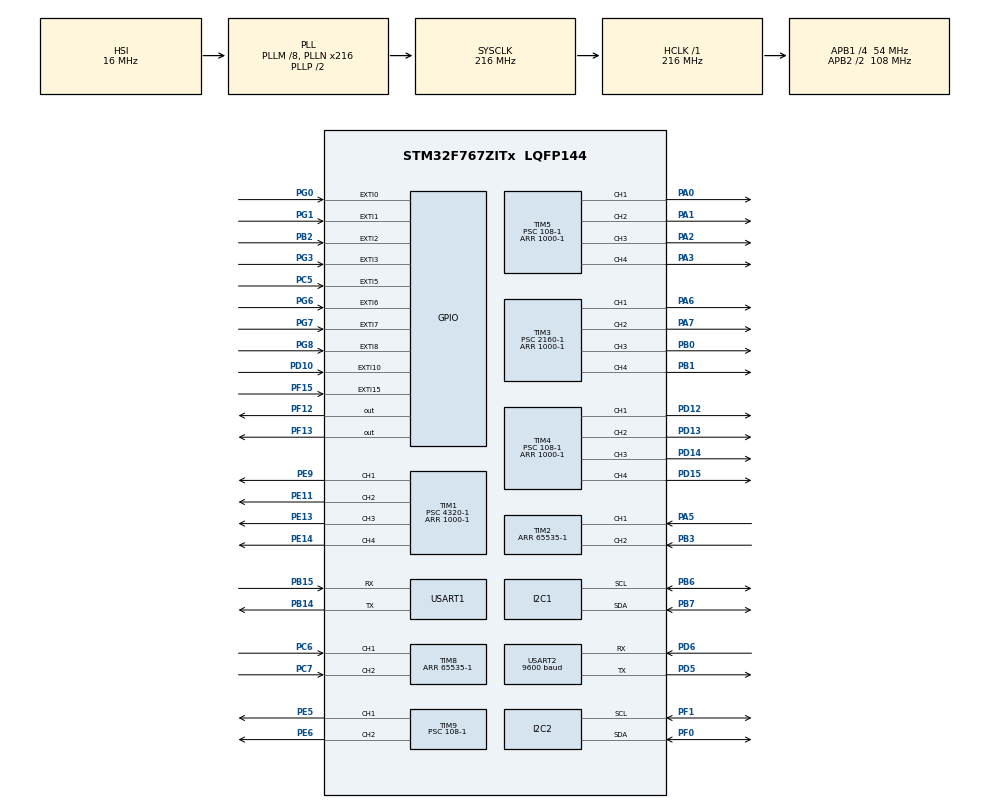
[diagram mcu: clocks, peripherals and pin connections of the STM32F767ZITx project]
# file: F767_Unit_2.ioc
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Dma.Request0=USART2_RX
Dma.USART2_RX.0.Direction=DMA_PERIPH_TO_MEMORY
Dma.USART2_RX.0.FIFOMode=DMA_FIFOMODE_DISABLE
Dma.USART2_RX.0.Instance=DMA1_Stream5
Dma.USART2_RX.0.MemDataAlignment=DMA_MDATAALIGN_BYTE
Dma.USART2_RX.0.MemInc=DMA_MINC_ENABLE
Dma.USART2_RX.0.Mode=DMA_CIRCULAR
Dma.USART2_RX.0.PeriphDataAlignment=DMA_PDATAALIGN_BYTE
Dma.USART2_RX.0.PeriphInc=DMA_PINC_DISABLE
Dma.USART2_RX.0.Priority=DMA_PRIORITY_VERY_HIGH
I2C1.Timing=0x20404768
I2C2.Timing=0x20404768
Mcu.Family=STM32F7
Mcu.Name=STM32F767ZITx
Mcu.Package=LQFP144
NVIC.DMA1_Stream5_IRQn=true\:0\:0\:false\:false\:true\:false\:true
NVIC.EXTI0_IRQn=true\:0\:0\:false\:false\:true\:true\:true
NVIC.EXTI15_10_IRQn=true\:0\:0\:false\:false\:true\:true\:true
NVIC.EXTI1_IRQn=true\:0\:0\:false\:false\:true\:true\:true
NVIC.EXTI2_IRQn=true\:0\:0\:false\:false\:true\:true\:true
NVIC.EXTI3_IRQn=true\:0\:0\:false\:false\:true\:true\:true
NVIC.EXTI9_5_IRQn=true\:0\:0\:false\:false\:true\:true\:true
NVIC.PriorityGroup=NVIC_PRIORITYGROUP_4
NVIC.TIM6_DAC_IRQn=true\:0\:0\:false\:false\:true\:true\:true
NVIC.USART2_IRQn=true\:0\:0\:false\:false\:true\:true\:true
PA0/WKUP.Signal=S_TIM5_CH1
PA1.Signal=S_TIM5_CH2
PA2.Signal=S_TIM5_CH3
PA3.Signal=S_TIM5_CH4
PA5.Signal=S_TIM2_CH1_ETR
PA6.Signal=S_TIM3_CH1
PA7.Signal=S_TIM3_CH2
PB0.Signal=S_TIM3_CH3
PB1.Signal=S_TIM3_CH4
PB14.Mode=Asynchronous
PB14.Signal=USART1_TX
PB15.Mode=Asynchronous
PB15.Signal=USART1_RX
PB2.GPIO_ModeDefaultEXTI=GPIO_MODE_IT_RISING_FALLING
PB2.Signal=GPXTI2
PB3.Signal=S_TIM2_CH2
PB6.Mode=I2C
PB6.Signal=I2C1_SCL
PB7.Mode=I2C
PB7.Signal=I2C1_SDA
PC5.GPIO_ModeDefaultEXTI=GPIO_MODE_IT_RISING_FALLING
PC5.Signal=GPXTI5
PC6.Signal=S_TIM8_CH1
PC7.Signal=S_TIM8_CH2
PD10.GPIO_ModeDefaultEXTI=GPIO_MODE_IT_RISING_FALLING
PD10.Signal=GPXTI10
PD12.Signal=S_TIM4_CH1
PD13.Signal=S_TIM4_CH2
PD14.Signal=S_TIM4_CH3
PD15.Signal=S_TIM4_CH4
PD5.Mode=Asynchronous
PD5.Signal=USART2_TX
PD6.Mode=Asynchronous
PD6.Signal=USART2_RX
PE11.Signal=S_TIM1_CH2
PE13.Signal=S_TIM1_CH3
PE14.Signal=S_TIM1_CH4
PE5.Signal=S_TIM9_CH1
PE6.Signal=S_TIM9_CH2
PE9.Signal=S_TIM1_CH1
PF0.Mode=I2C
PF0.Signal=I2C2_SDA
PF1.Mode=I2C
PF1.Signal=I2C2_SCL
PF12.Signal=GPIO_Output
PF13.Signal=GPIO_Output
PF15.GPIO_ModeDefaultEXTI=GPIO_MODE_IT_RISING_FALLING
PF15.Signal=GPXTI15
PG0.GPIO_ModeDefaultEXTI=GPIO_MODE_IT_RISING_FALLING
PG0.Signal=GPXTI0
PG1.GPIO_ModeDefaultEXTI=GPIO_MODE_IT_RISING_FALLING
PG1.Signal=GPXTI1
PG3.GPIO_ModeDefaultEXTI=GPIO_MODE_IT_RISING_FALLING
PG3.Signal=GPXTI3
PG6.GPIO_ModeDefaultEXTI=GPIO_MODE_IT_RISING_FALLING
PG6.Signal=GPXTI6
PG7.GPIO_ModeDefaultEXTI=GPIO_MODE_IT_RISING_FALLING
PG7.Signal=GPXTI7
PG8.GPIO_ModeDefaultEXTI=GPIO_MODE_IT_RISING_FALLING
PG8.Signal=GPXTI8
ProjectManager.HeapSize=0x200
ProjectManager.StackSize=0x400
ProjectManager.TargetToolchain=STM32CubeIDE
RCC.AHBFreq_Value=216000000
RCC.APB1CLKDivider=RCC_HCLK_DIV4
RCC.APB1Freq_Value=54000000
RCC.APB1TimFreq_Value=108000000
RCC.APB2CLKDivider=RCC_HCLK_DIV2
RCC.APB2Freq_Value=108000000
RCC.APB2TimFreq_Value=216000000
RCC.CortexFreq_Value=216000000
RCC.HCLKFreq_Value=216000000
RCC.HSE_VALUE=25000000
RCC.HSI_VALUE=16000000
RCC.LSE_VALUE=32768
RCC.PLLM=8
RCC.PLLN=216
RCC.SYSCLKFreq_VALUE=216000000
RCC.SYSCLKSource=RCC_SYSCLKSOURCE_PLLCLK
RCC.USBFreq_Value=216000000
RCC.VCOOutputFreq_Value=432000000
SH.S_TIM1_CH1.0=TIM1_CH1,PWM Generation1 CH1
SH.S_TIM1_CH2.0=TIM1_CH2,PWM Generation2 CH2
SH.S_TIM1_CH3.0=TIM1_CH3,PWM Generation3 CH3
SH.S_TIM1_CH4.0=TIM1_CH4,PWM Generation4 CH4
SH.S_TIM2_CH1_ETR.0=TIM2_CH1,Encoder_Interface
SH.S_TIM2_CH2.0=TIM2_CH2,Encoder_Interface
SH.S_TIM3_CH1.0=TIM3_CH1,PWM Generation1 CH1
SH.S_TIM3_CH2.0=TIM3_CH2,PWM Generation2 CH2
SH.S_TIM3_CH3.0=TIM3_CH3,PWM Generation3 CH3
SH.S_TIM3_CH4.0=TIM3_CH4,PWM Generation4 CH4
SH.S_TIM4_CH1.0=TIM4_CH1,PWM Generation1 CH1
SH.S_TIM4_CH2.0=TIM4_CH2,PWM Generation2 CH2
SH.S_TIM4_CH3.0=TIM4_CH3,PWM Generation3 CH3
SH.S_TIM4_CH4.0=TIM4_CH4,PWM Generation4 CH4
SH.S_TIM5_CH1.0=TIM5_CH1,PWM Generation1 CH1
SH.S_TIM5_CH2.0=TIM5_CH2,PWM Generation2 CH2
SH.S_TIM5_CH3.0=TIM5_CH3,PWM Generation3 CH3
SH.S_TIM5_CH4.0=TIM5_CH4,PWM Generation4 CH4
SH.S_TIM8_CH1.0=TIM8_CH1,Encoder_Interface
SH.S_TIM8_CH2.0=TIM8_CH2,Encoder_Interface
SH.S_TIM9_CH1.0=TIM9_CH1,PWM Generation1 CH1
SH.S_TIM9_CH2.0=TIM9_CH2,PWM Generation2 CH2
TIM1.Channel-PWM\ Generation1\ CH1=TIM_CHANNEL_1
TIM1.Channel-PWM\ Generation2\ CH2=TIM_CHANNEL_2
TIM1.Channel-PWM\ Generation3\ CH3=TIM_CHANNEL_3
TIM1.Channel-PWM\ Generation4\ CH4=TIM_CHANNEL_4
TIM1.Period=1000-1
TIM1.Prescaler=4320-1
TIM12.Period=1000-1
TIM12.Prescaler=108-1
TIM2.EncoderMode=TIM_ENCODERMODE_TI12
TIM2.Period=65535-1
TIM3.Channel-PWM\ Generation1\ CH1=TIM_CHANNEL_1
TIM3.Channel-PWM\ Generation2\ CH2=TIM_CHANNEL_2
TIM3.Channel-PWM\ Generation3\ CH3=TIM_CHANNEL_3
TIM3.Channel-PWM\ Generation4\ CH4=TIM_CHANNEL_4
TIM3.Period=1000-1
TIM3.Prescaler=2160-1
TIM4.Channel-PWM\ Generation1\ CH1=TIM_CHANNEL_1
TIM4.Channel-PWM\ Generation2\ CH2=TIM_CHANNEL_2
TIM4.Channel-PWM\ Generation3\ CH3=TIM_CHANNEL_3
TIM4.Channel-PWM\ Generation4\ CH4=TIM_CHANNEL_4
TIM4.Period=1000-1
TIM4.Prescaler=108-1
TIM5.Channel-PWM\ Generation1\ CH1=TIM_CHANNEL_1
TIM5.Channel-PWM\ Generation2\ CH2=TIM_CHANNEL_2
TIM5.Channel-PWM\ Generation3\ CH3=TIM_CHANNEL_3
TIM5.Channel-PWM\ Generation4\ CH4=TIM_CHANNEL_4
TIM5.Period=1000-1
TIM5.Prescaler=108-1
TIM6.Period=50000-1
TIM6.Prescaler=10800-1
TIM8.EncoderMode=TIM_ENCODERMODE_TI12
TIM8.Period=65535-1
TIM9.Channel-PWM\ Generation1\ CH1=TIM_CHANNEL_1
TIM9.Channel-PWM\ Generation2\ CH2=TIM_CHANNEL_2
TIM9.Period=1000-1
TIM9.Prescaler=108-1
USART1.VirtualMode-Asynchronous=VM_ASYNC
USART2.BaudRate=9600
USART2.RxPinLevelInvertParam=ADVFEATURE_RXINV_ENABLE
USART2.VirtualMode-Asynchronous=VM_ASYNC
VP_TIM12_VS_ClockSourceINT.Mode=Internal
VP_TIM1_VS_ClockSourceINT.Mode=Internal
VP_TIM3_VS_ClockSourceINT.Mode=Internal
VP_TIM4_VS_ClockSourceINT.Mode=Internal
VP_TIM5_VS_ClockSourceINT.Mode=Internal
VP_TIM6_VS_ClockSourceINT.Mode=Enable_Timer
VP_TIM9_VS_ClockSourceINT.Mode=Internal
board=custom

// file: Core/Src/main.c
/* USER CODE BEGIN Header */
/**
  ******************************************************************************
  * @file           : main.c
  * @brief          : Main program body
  ******************************************************************************
  * @attention
  *
  * <h2><center>&copy; Copyright (c) 2024 STMicroelectronics.
  * All rights reserved.</center></h2>
  *
  * This software component is licensed by ST under BSD 3-Clause license,
  * the "License"; You may not use this file except in compliance with the
  * License. You may obtain a copy of the License at:
  *                        opensource.org/licenses/BSD-3-Clause
  *
  ******************************************************************************
  */
/* USER CODE END Header */

#include "main.h"

/* USER CODE BEGIN Includes */
#include "SO1602A.h"
#include "mpu6500.h"
#include "stdio.h"
#include "stdlib.h"
#include "stdbool.h"
/* USER CODE END Includes */

I2C_HandleTypeDef hi2c1;
I2C_HandleTypeDef hi2c2;

TIM_HandleTypeDef htim1;
TIM_HandleTypeDef htim2;
TIM_HandleTypeDef htim3;
TIM_HandleTypeDef htim4;
TIM_HandleTypeDef htim5;
TIM_HandleTypeDef htim6;
TIM_HandleTypeDef htim8;
TIM_HandleTypeDef htim9;
TIM_HandleTypeDef htim12;

UART_HandleTypeDef huart1;
UART_HandleTypeDef huart2;
DMA_HandleTypeDef hdma_usart2_rx;

void SystemClock_Config(void);
static void MX_GPIO_Init(void);
static void MX_DMA_Init(void);
static void MX_I2C1_Init(void);
static void MX_I2C2_Init(void);
static void MX_TIM2_Init(void);
static void MX_TIM3_Init(void);
static void MX_TIM1_Init(void);
static void MX_TIM5_Init(void);
static void MX_TIM9_Init(void);
static void MX_TIM4_Init(void);
static void MX_TIM12_Init(void);
static void MX_USART2_UART_Init(void);
static void MX_TIM8_Init(void);
static void MX_TIM6_Init(void);
static void MX_USART1_UART_Init(void);

/* USER CODE BEGIN 0 */
bool status_1 = 0;				//toggle switch
bool status_2 = 0;
bool status_3 = 0;
bool limit_1 = 0;				//arm dasu
bool limit_2 = 0;				//arm simau
bool limit_3 = 0;				//arm up
bool SW_1 = 0;					//takuto switch
bool SW_2 = 0;
bool SW_3 = 0;
bool SW_4 = 0;
bool RST  = 0;					//reset signal

#define Servo_low 25			//MG996R , flash hobby , ds3218
#define Servo_high 125			//0.5ms - 2.5ms
uint16_t speed = 0;
uint16_t normal = 750;
uint16_t B_dash = 999;
uint16_t test_speed = 0;
//int enc_counter_1 = 0;
//int enc_counter_2 = 0;

#define servo1_init 190					//arm right open close
#define servo2_init 90					//arm left open close
#define servo3_init 130					//arm right up down
#define servo4_init 130					//arm left up down
#define servo6_init 180					//camera arm rotation
#define servo7_init 60					//camera arm up down
//#define servo8_init 60

uint16_t servo1_kakudo = servo1_init * 4;		//initialize kakudo
uint16_t servo2_kakudo = servo2_init * 4;
uint16_t servo3_kakudo = servo3_init * 4;
uint16_t servo4_kakudo = servo4_init * 4;
uint16_t servo6_kakudo = servo6_init * 4;
uint16_t servo7_kakudo = servo7_init * 4;
//uint16_t servo8_kakudo = servo8_init * 4;
//uint16_t servo5_kakudo = 90;

char str[10];
char str_1[5];
char str_2[5];
char str_3[5];
char rxbuf[1];

void HAL_GPIO_EXTI_Callback(uint16_t GPIO_Pin){
	if(GPIO_Pin == GPIO_PIN_4){
		if(HAL_GPIO_ReadPin(GPIOC,GPIO_PIN_4) == 0){
			status_3 = 1;
		}else {
			status_3 = 0;
		}
	}else if(GPIO_Pin == GPIO_PIN_5){
		if(HAL_GPIO_ReadPin(GPIOC,GPIO_PIN_5) == 0){
			status_2 = 1;
		}else{
			status_2 = 0;
		}
	}else if(GPIO_Pin == GPIO_PIN_2){
		if(HAL_GPIO_ReadPin(GPIOB,GPIO_PIN_2) == 0){
			status_1 = 1;
		}else {
			status_1 = 0;
		}
	}else if(GPIO_Pin == GPIO_PIN_1){
		if(HAL_GPIO_ReadPin(GPIOG,GPIO_PIN_1) == 1){
			limit_1 = 1;					//NO
		}else{
			limit_1 = 0;
		}
	}else if(GPIO_Pin == GPIO_PIN_15){
		if(HAL_GPIO_ReadPin(GPIOF,GPIO_PIN_15) == 1){
			limit_2 = 1;					//NO
		}else{
			limit_2 = 0;
		}
	}else if(GPIO_Pin == GPIO_PIN_0){
		if(HAL_GPIO_ReadPin(GPIOG,GPIO_PIN_0) == 1){
			limit_3 = 0;					// NC
		}else{
			limit_3 = 1;
		}
	}else if(GPIO_Pin == GPIO_PIN_3){
		if(HAL_GPIO_ReadPin(GPIOG,GPIO_PIN_3) == 1){
			SW_1 = 1;
		}else{
			SW_1 = 0;
		}
	}else if(GPIO_Pin == GPIO_PIN_6){
		if(HAL_GPIO_ReadPin(GPIOG,GPIO_PIN_6) == 1){
			SW_2 = 1;
		}else{
			SW_2 = 0;
		}
	}else if(GPIO_Pin == GPIO_PIN_7){
		if(HAL_GPIO_ReadPin(GPIOG,GPIO_PIN_7) == 1){
			SW_3 = 1;
		}else{
			SW_3 = 0;
		}
	}else if(GPIO_Pin == GPIO_PIN_8){
		if(HAL_GPIO_ReadPin(GPIOG,GPIO_PIN_8) == 1){
			SW_4 = 1;
		}else{
			SW_4 = 0;
		}
	}else if(GPIO_Pin == GPIO_PIN_10){
		if(HAL_GPIO_ReadPin(GPIOD,GPIO_PIN_10) == 1){
			RST = 1;
		}else{
			RST = 0;
		}
	}
}

void motor_4(uint16_t ina , uint16_t inb){
	__HAL_TIM_SET_COMPARE(&htim5,TIM_CHANNEL_1,ina);
	__HAL_TIM_SET_COMPARE(&htim5,TIM_CHANNEL_2,inb);
}

void motor_3(uint16_t ina , uint16_t inb){
	__HAL_TIM_SET_COMPARE(&htim4,TIM_CHANNEL_3,inb);
	__HAL_TIM_SET_COMPARE(&htim4,TIM_CHANNEL_4,ina);
}

void motor_2(uint16_t ina , uint16_t inb){
	__HAL_TIM_SET_COMPARE(&htim4,TIM_CHANNEL_1,ina);
	__HAL_TIM_SET_COMPARE(&htim4,TIM_CHANNEL_2,inb);
}

void motor_sol(uint16_t ina , uint16_t inb){
	__HAL_TIM_SET_COMPARE(&htim5,TIM_CHANNEL_3,inb);
	__HAL_TIM_SET_COMPARE(&htim5,TIM_CHANNEL_4,ina);
}

void motor_1(uint16_t ina , uint16_t inb){
	__HAL_TIM_SET_COMPARE(&htim9,TIM_CHANNEL_1,ina);
	__HAL_TIM_SET_COMPARE(&htim9,TIM_CHANNEL_2,inb);
}
long map(float x , float in_min , float in_max , float out_min , float out_max)
{
	  return (x - in_min) * (out_max - out_min) / (in_max - in_min) + out_min;
}
void servo_1(uint16_t pulse){				//kyujo arm
	long pulse_1 = map(pulse , 0 , 270 , Servo_low , Servo_high);
	__HAL_TIM_SET_COMPARE(&htim3,TIM_CHANNEL_4,pulse_1);
}
void servo_2(uint16_t pulse){
	long pulse_1 = map(pulse , 0 , 270 , Servo_low , Servo_high);
	__HAL_TIM_SET_COMPARE(&htim3,TIM_CHANNEL_3,pulse_1);
}
void servo_3(uint16_t pulse){				//kyujo arm
	long pulse_1 = map(pulse , 0 , 270 , Servo_low , Servo_high);
	__HAL_TIM_SET_COMPARE(&htim3,TIM_CHANNEL_2,pulse_1);
}
void servo_4(float pulse){					//kyujo arm
	long pulse_1 = map(pulse , 0 , 270 , Servo_low , Servo_high);
	__HAL_TIM_SET_COMPARE(&htim3,TIM_CHANNEL_1,pulse_1);
}
void servo_5(float pulse){					//kyujo arm
	long pulse_1 = map(pulse , 0 , 270 , Servo_low , Servo_high);
	__HAL_TIM_SET_COMPARE(&htim1,TIM_CHANNEL_4,pulse_1);
}

void servo_6(uint16_t pulse){			//camera arm no dai  0 ~ 90
	long pulse_1 = map(pulse , 0 , 270 , Servo_low , Servo_high);
	__HAL_TIM_SET_COMPARE(&htim1,TIM_CHANNEL_3,pulse_1);
}
void servo_7(uint16_t pulse){			//camera arm camera rotation
	long pulse_1 = map(pulse , 0 , 270 , Servo_low , Servo_high);
	__HAL_TIM_SET_COMPARE(&htim1,TIM_CHANNEL_2,pulse_1);
}
/*
void servo_8(uint16_t pulse){
	long pulse_1 = map(pulse , 0 , 270 , Servo_low , Servo_high);
	__HAL_TIM_SET_COMPARE(&htim1,TIM_CHANNEL_1,pulse_1);
}
*/

void servo_init(){
	  servo_1(servo1_init);
	  servo_3(servo2_init);
	  servo_4(servo3_init);
	  servo_5(servo4_init);
	  //servo_8(servo8_init);
}

/* USER CODE END 0 */

int main(void)
{

  /* MCU Configuration--------------------------------------------------------*/

  /* Reset of all peripherals, Initializes the Flash interface and the Systick. */
  HAL_Init();

  /* Configure the system clock */
  SystemClock_Config();

  /* Initialize all configured peripherals */
  MX_GPIO_Init();
  MX_DMA_Init();
  MX_I2C1_Init();
  MX_I2C2_Init();
  MX_TIM2_Init();
  MX_TIM3_Init();
  MX_TIM1_Init();
  MX_TIM5_Init();
  MX_TIM9_Init();
  MX_TIM4_Init();
  MX_TIM12_Init();
  MX_USART2_UART_Init();
  MX_TIM8_Init();
  MX_TIM6_Init();
  MX_USART1_UART_Init();
  /* USER CODE BEGIN 2 */
  //HAL_UART_Receive_DMA(&huart1,(uint8_t *)rxbuf,1);			//raspi uart
  HAL_UART_Receive_DMA(&huart2,(uint8_t *)rxbuf,1);			//TPIP  uart

  HAL_TIM_PWM_Start(&htim1,TIM_CHANNEL_1);		//servo
  HAL_TIM_PWM_Start(&htim1,TIM_CHANNEL_2);
  HAL_TIM_PWM_Start(&htim1,TIM_CHANNEL_3);
  HAL_TIM_PWM_Start(&htim1,TIM_CHANNEL_4);
  HAL_TIM_PWM_Start(&htim3,TIM_CHANNEL_1);
  HAL_TIM_PWM_Start(&htim3,TIM_CHANNEL_2);
  HAL_TIM_PWM_Start(&htim3,TIM_CHANNEL_3);
  HAL_TIM_PWM_Start(&htim3,TIM_CHANNEL_4);

  HAL_TIM_PWM_Start(&htim4,TIM_CHANNEL_1);		//dc
  HAL_TIM_PWM_Start(&htim4,TIM_CHANNEL_2);
  HAL_TIM_PWM_Start(&htim4,TIM_CHANNEL_3);
  HAL_TIM_PWM_Start(&htim4,TIM_CHANNEL_4);
  HAL_TIM_PWM_Start(&htim5,TIM_CHANNEL_1);
  HAL_TIM_PWM_Start(&htim5,TIM_CHANNEL_2);
  HAL_TIM_PWM_Start(&htim5,TIM_CHANNEL_3);
  HAL_TIM_PWM_Start(&htim5,TIM_CHANNEL_4);
  HAL_TIM_PWM_Start(&htim9,TIM_CHANNEL_1);
  HAL_TIM_PWM_Start(&htim9,TIM_CHANNEL_2);
  HAL_TIM_PWM_Start(&htim12,TIM_CHANNEL_1);
  HAL_TIM_PWM_Start(&htim12,TIM_CHANNEL_2);
/*
  HAL_TIM_Encoder_Start(&htim2,TIM_CHANNEL_ALL);
  HAL_TIM_Encoder_Start(&htim8,TIM_CHANNEL_ALL);
*/
  //HAL_TIM_Base_Start_IT(&htim6);

  HAL_GPIO_WritePin(GPIOF,GPIO_PIN_12,SET);

  oled_Init(&hi2c1);
  mpu6500_init(&hi2c2);

  OLED_Init();
  set_cursor(1,0);
  Puts("select mode");
  set_cursor(2,0);
  Puts("1.UART 2.set 3.test");
  HAL_Delay(2000);

  servo_6(servo6_init);
  servo_7(servo7_init);
  servo_init();
  //enc_counter_1 = 0;
  //enc_counter_2 = 0;
/*
  while(RST != 1 && SW_1 != 1){
	  RST 	= HAL_GPIO_ReadPin(GPIOD,GPIO_PIN_10);
	  SW_1 	= HAL_GPIO_ReadPin(GPIOG,GPIO_PIN_3);
	  HAL_Delay(10);
  }
  */
  /* USER CODE END 2 */

  /* Infinite loop */
  /* USER CODE BEGIN WHILE */
  while (1)
  {
	  //number = atoi(&rxbuf[1]);
	  //sprintf(aiueo,"%d",number);
	  sprintf(str_1,"%d",limit_1);
	  sprintf(str_2,"%d",limit_2);
	  sprintf(str_3,"%d",limit_3);

	  if(status_1 == 1){
		  OLED_Init();
		  set_cursor(1,0);
		  Puts("status:uart mode");
		  set_cursor(2,0);
		  Puts("Received:");
		  set_cursor(2,10);
		  Puts(&rxbuf[0]);
		  set_cursor(2,12);			//limit switch debug
		  Puts(str_1);				//limit_1
		  set_cursor(2,13);
		  Puts(str_2);				//limit_2
		  set_cursor(2,14);
		  Puts(str_3);				//limit_3

		  if(rxbuf[0] < 95){
			  speed = B_dash;		//b_dash mode
		  }else{
			  speed = normal;		//normal speed
		  }
/*
		  if(RST){
			  HAL_NVIC_SystemReset();	//stm32 reset when communication cut off
		  }
*/
		  if(rxbuf[0] == 'k'){
			  motor_1(0,0);
			  motor_2(0,0);
			  motor_3(0,0);
			  motor_4(0,0);
		  }else if(rxbuf[0] == 'c' || rxbuf[0] == 'C'){
			  motor_1(0,speed);
			  motor_2(0,speed);		//forward
		  }else if(rxbuf[0] == 'g' || rxbuf[0] == 'G'){
			  motor_1(speed,0);
			  motor_2(speed,0);		//back
		  }else if(rxbuf[0] == 'i' || rxbuf[0] == 'I'){
			  motor_1(speed,0);
			  motor_2(0,speed);		//turn right
		  }else if(rxbuf[0] == 'j' || rxbuf[0] == 'J'){
			  motor_1(0,speed);
			  motor_2(speed,0);		//turn left
		  }else if(rxbuf[0] == 'l'){		//arm dasu
			  if(limit_1 == 0){
				  motor_3(500,0);
			  }else{
				  motor_3(0,0);
			  }
		  }else if(rxbuf[0] == 'm'){		//arm simau

			  if(limit_2 == 0){
				  motor_3(0,500);
			  }else{
				  motor_3(0,0);
			  }
		  }else if(rxbuf[0] == 'n'){	//arm sageru
			  motor_4(500,0);
		  }else if(rxbuf[0] == 'o'){	//arm ageru
			  if(limit_3 == 0){
				  motor_4(0,500);
			  }else {
				  motor_4(0,0);
			  }

		  }else if(rxbuf[0] == 'p'){
			  for(;servo1_kakudo > 760 ; servo1_kakudo--){
				  servo_1(servo1_kakudo / 4);
				  HAL_Delay(5);
				  if(rxbuf[0] == 'k'){
					  break;
				  }
			  }

		  }else if(rxbuf[0] == 'q'){
			  for(;servo1_kakudo < 1080 ; servo1_kakudo++){
				  servo_1(servo1_kakudo / 4);
				  HAL_Delay(5);
				  if(rxbuf[0] == 'k'){
					  break;
				  }
			  }
		  }else if(rxbuf[0] == 'r'){
			  for(;servo2_kakudo > 0 ; servo2_kakudo--){
				  servo_3(servo2_kakudo/4);
				  HAL_Delay(2);
				  if(rxbuf[0] == 'k'){
					  break;
				  }
			  }
		  }else if(rxbuf[0] == 's'){
			  for(;servo2_kakudo < 360 ; servo2_kakudo++){
				  servo_3(servo2_kakudo / 4);
				  HAL_Delay(2);
				  if(rxbuf[0] == 'k'){
					  break;
				  }
			  }
	  	  }else if(rxbuf[0] == 't'){		//servo3_init : 145 * 4 = 580  10do zureru to +40do  580 + 40 = 620
			  for(;servo3_kakudo < 560 ; servo3_kakudo++){
				  servo_4(servo3_kakudo / 4);
				  servo_5((int)map(servo3_kakudo , 280 , 560 , 760 , 480) / 4);
				  HAL_Delay(5);
				  if(rxbuf[0] == 'k'){
					  break;
				  }
			  }
	  	  }else if(rxbuf[0] == 'u'){		//80do ageru to 145do kara mainasu 80do = 65do * 4 = 260
			  for(;servo3_kakudo > 280 ; servo3_kakudo--){		//servo4_init = 110 * 4 = 440 , 30 ~ 120 , 120 ~ 480
				  servo_4(servo3_kakudo / 4);
				  servo_5((int)map(servo3_kakudo , 280 , 560 , 780 , 480) / 4);
				  HAL_Delay(5);
				  if(rxbuf[0] == 'k'){
					  break;
				  }
			  }
		  }else if(rxbuf[0] == 'v'){
			  servo_init();
			  servo1_kakudo = servo1_init * 4;		//initialize kakudo
			  servo2_kakudo = servo2_init * 4;
			  servo3_kakudo = servo3_init * 4;
			  servo4_kakudo = servo4_init * 4;

		  }else if(rxbuf[0] == 'x'){			//arm close douji
			  for(;servo1_kakudo < 1080 ; servo1_kakudo++){
				  servo_1(servo1_kakudo / 4);
				  servo_3((int)map(servo1_kakudo , 760 , 1080 , 360 , 0) / 4);
				  HAL_Delay(6);
				  if(rxbuf[0] == 'k'){
					  break;
				  }
			  }
		  }else if(rxbuf[0] == 'w'){			//arm open douji
			  for(;servo1_kakudo > 760 ; servo1_kakudo--){
				  servo_1(servo1_kakudo / 4);
				  servo_3((int)map(servo1_kakudo , 760 , 1089 , 360 , 0) / 4);
				  HAL_Delay(6);
				  if(rxbuf[0] == 'k'){
					  break;
				  }
			  }
		  }else if(rxbuf[0] == 'y'){			//camera arm right rotation
			  for(;servo6_kakudo > 360 ; servo6_kakudo--){
				  servo_6(servo6_kakudo / 4);
				  HAL_Delay(6);
				  if(rxbuf[0] == 'k'){
					  break;
				  }
			  }
		  }else if(rxbuf[0] == 'z'){			//camera arm left rotation
			  for(;servo6_kakudo < 1080 ; servo6_kakudo++){
				  servo_6(servo6_kakudo / 4);
				  HAL_Delay(6);
				  if(rxbuf[0] == 'k'){
					  break;
				  }
			  }
		  }else if(rxbuf[0] == 'L'){			//camera arm up
			  for(;servo7_kakudo > 0 ; servo7_kakudo--){
				  servo_7(servo7_kakudo / 4);
				  HAL_Delay(6);
				  if(rxbuf[0] == 'k'){
					  break;
				  }
			  }
		  }else if(rxbuf[0] == 'M'){			//camera arm down
			  for(;servo7_kakudo < 240 ; servo7_kakudo++){
				  servo_7(servo7_kakudo / 4);
				  HAL_Delay(6);
				  if(rxbuf[0] == 'k'){
					  break;
				  }
			  }
		  }else if(rxbuf[0] == '1'){			//camera arm down
			  motor_sol(800,0);
		  }else if(rxbuf[0] == '2'){			//camera arm down
			  motor_sol(0,0);
		  }
  	  }else if(status_2 == 1){

		  sprintf(str_1,"%d",test_speed);

		  OLED_Init();
		  set_cursor(1,0);
		  Puts("setting speed");
		  set_cursor(2,0);
		  Puts("speed = ");
		  set_cursor(2,10);
		  Puts(str_1);

		  if(SW_3 == 1 && SW_1 == 1){
		  	  motor_3(500,0);
		  }else if(SW_3 == 1 && SW_2 == 1){
			  motor_3(0,500);
		  }else if(SW_4 == 1 && SW_1 == 1){
		  	  motor_4(500,0);
		  }else if(SW_4 == 1 && SW_2 == 1){
		  	  motor_4(0,500);
		  }else if(SW_1 == 1){
			  test_speed += 50;

		  }else if(SW_2 == 1){
			  test_speed -= 50;

		  }else if(SW_3){
			  motor_sol(800,0);
		  }else {
			  motor_3(0,0);
			  motor_4(0,0);
			  motor_sol(0,0);
		  }

	  }else if(status_3 == 1){
		  mpu6500_get_deg();
		  sprintf(str,"%d",deg_X);
		  OLED_Init();
		  set_cursor(1,0);
		  Puts("status:Gyro test");
		  set_cursor(2,0);
		  Puts("degree:");
		  set_cursor(2,9);
		  Puts(str);

		  if(SW_1 == 1){
			  OLED_Init();
			  set_cursor(1,0);
			  Puts("test:servo_2");

			  for(;servo2_kakudo < 720 ; servo2_kakudo++){
				  servo_4(servo2_kakudo / 4);
				  HAL_Delay(2);
				  if(SW_1 == 0){
					  break;
				  }
			  }
		  }else if(SW_2 == 1){
			  for(;servo2_kakudo > 0 ; servo2_kakudo--){
				  servo_4(servo2_kakudo / 4);
				  HAL_Delay(2);
				  if(SW_2 == 0){
					  break;
				  }
			  }
		  }else if(SW_3 == 1){
			  for(;servo1_kakudo < 1080 ; servo1_kakudo++){
				  servo_1(servo1_kakudo / 4);
				  HAL_Delay(2);
				  if(SW_3 == 0){
					  break;
				  }
			  }
		  }else if(SW_4 == 1){
			  for(;servo1_kakudo > 0 ; servo1_kakudo--){
				  servo_1(servo1_kakudo / 4);
				  HAL_Delay(2);
				  if(SW_4 == 0){
					  break;
				  }
			  }
		  }
	  }else if(SW_1 == 1){			//forward test
/*		  enc_counter_1 = TIM2 -> CNT;
		  enc_counter_2 = TIM8 -> CNT;
		  sprintf(str_2,"%d",enc_counter_1);
		  sprintf(str_3,"%d",enc_counter_2);
*/
		 OLED_Init();
		 set_cursor(1,0);
		 Puts("right:");
		 set_cursor(1,8);
		 Puts(str_2);
		 set_cursor(2,0);
		 Puts("left");
		 set_cursor(2,8);
		 Puts(str_3);

		 motor_1(test_speed , 0);
		 motor_2(test_speed , 0);

	  }else if(SW_2 == 1){			//back test
/*		  enc_counter_1 = TIM2 -> CNT;
		  enc_counter_2 = TIM8 -> CNT;
		  sprintf(str_2,"%d",enc_counter_1);
		  sprintf(str_3,"%d",enc_counter_2);
*/
		 OLED_Init();
		 set_cursor(1,0);
		 Puts("right:");
		 set_cursor(1,8);
		 Puts(str_2);
		 set_cursor(2,0);
		 Puts("left");
		 set_cursor(2,8);
		 Puts(str_3);

		 motor_1(0,test_speed);
		 motor_2(0,test_speed);

	  }else if(SW_3 == 1){
		  OLED_Init();
		  set_cursor(1,0);
		  Puts("status: senkai1");
		  motor_1(0,test_speed);
		  motor_2(test_speed,0);

	  }else if(SW_4 == 1){
		  OLED_Init();
		  set_cursor(1,0);
		  Puts("status: senkai2");
		  motor_1(test_speed ,0 );
		  motor_2(0 , test_speed);

	  }else if(status_1 + status_2 + status_3 == 0){
		  OLED_Init();
		  set_cursor(1,0);
		  Puts("select mode");
		  set_cursor(2,0);
		  Puts("1.UART 2.st 3.tst");

		  motor_1(0,0);
		  motor_2(0,0);
		  motor_3(0,0);
		  motor_4(0,0);
	  }

	  HAL_Delay(5);

    /* USER CODE END WHILE */

	}
}

void SystemClock_Config(void)
{
  RCC_OscInitTypeDef RCC_OscInitStruct = {0};
  RCC_ClkInitTypeDef RCC_ClkInitStruct = {0};
  RCC_PeriphCLKInitTypeDef PeriphClkInitStruct = {0};

  /** Configure the main internal regulator output voltage
  */
  __HAL_RCC_PWR_CLK_ENABLE();
  __HAL_PWR_VOLTAGESCALING_CONFIG(PWR_REGULATOR_VOLTAGE_SCALE1);
  /** Initializes the CPU, AHB and APB busses clocks
  */
  RCC_OscInitStruct.OscillatorType = RCC_OSCILLATORTYPE_HSI;
  RCC_OscInitStruct.HSIState = RCC_HSI_ON;
  RCC_OscInitStruct.HSICalibrationValue = RCC_HSICALIBRATION_DEFAULT;
  RCC_OscInitStruct.PLL.PLLState = RCC_PLL_ON;
  RCC_OscInitStruct.PLL.PLLSource = RCC_PLLSOURCE_HSI;
  RCC_OscInitStruct.PLL.PLLM = 8;
  RCC_OscInitStruct.PLL.PLLN = 216;
  RCC_OscInitStruct.PLL.PLLP = RCC_PLLP_DIV2;
  RCC_OscInitStruct.PLL.PLLQ = 2;
  if (HAL_RCC_OscConfig(&RCC_OscInitStruct) != HAL_OK)
  {
    Error_Handler();
  }
  /** Activate the Over-Drive mode
  */
  if (HAL_PWREx_EnableOverDrive() != HAL_OK)
  {
    Error_Handler();
  }
  /** Initializes the CPU, AHB and APB busses clocks
  */
  RCC_ClkInitStruct.ClockType = RCC_CLOCKTYPE_HCLK|RCC_CLOCKTYPE_SYSCLK
                              |RCC_CLOCKTYPE_PCLK1|RCC_CLOCKTYPE_PCLK2;
  RCC_ClkInitStruct.SYSCLKSource = RCC_SYSCLKSOURCE_PLLCLK;
  RCC_ClkInitStruct.AHBCLKDivider = RCC_SYSCLK_DIV1;
  RCC_ClkInitStruct.APB1CLKDivider = RCC_HCLK_DIV4;
  RCC_ClkInitStruct.APB2CLKDivider = RCC_HCLK_DIV2;

  if (HAL_RCC_ClockConfig(&RCC_ClkInitStruct, FLASH_LATENCY_7) != HAL_OK)
  {
    Error_Handler();
  }
  PeriphClkInitStruct.PeriphClockSelection = RCC_PERIPHCLK_USART1|RCC_PERIPHCLK_USART2
                              |RCC_PERIPHCLK_I2C1|RCC_PERIPHCLK_I2C2;
  PeriphClkInitStruct.Usart1ClockSelection = RCC_USART1CLKSOURCE_PCLK2;
  PeriphClkInitStruct.Usart2ClockSelection = RCC_USART2CLKSOURCE_PCLK1;
  PeriphClkInitStruct.I2c1ClockSelection = RCC_I2C1CLKSOURCE_PCLK1;
  PeriphClkInitStruct.I2c2ClockSelection = RCC_I2C2CLKSOURCE_PCLK1;
  if (HAL_RCCEx_PeriphCLKConfig(&PeriphClkInitStruct) != HAL_OK)
  {
    Error_Handler();
  }
}

static void MX_I2C1_Init(void)
{

  hi2c1.Instance = I2C1;
  hi2c1.Init.Timing = 0x20404768;
  hi2c1.Init.OwnAddress1 = 0;
  hi2c1.Init.AddressingMode = I2C_ADDRESSINGMODE_7BIT;
  hi2c1.Init.DualAddressMode = I2C_DUALADDRESS_DISABLE;
  hi2c1.Init.OwnAddress2 = 0;
  hi2c1.Init.OwnAddress2Masks = I2C_OA2_NOMASK;
  hi2c1.Init.GeneralCallMode = I2C_GENERALCALL_DISABLE;
  hi2c1.Init.NoStretchMode = I2C_NOSTRETCH_DISABLE;
  if (HAL_I2C_Init(&hi2c1) != HAL_OK)
  {
    Error_Handler();
  }
  /** Configure Analogue filter
  */
  if (HAL_I2CEx_ConfigAnalogFilter(&hi2c1, I2C_ANALOGFILTER_ENABLE) != HAL_OK)
  {
    Error_Handler();
  }
  /** Configure Digital filter
  */
  if (HAL_I2CEx_ConfigDigitalFilter(&hi2c1, 0) != HAL_OK)
  {
    Error_Handler();
  }

}

static void MX_I2C2_Init(void)
{

  hi2c2.Instance = I2C2;
  hi2c2.Init.Timing = 0x20404768;
  hi2c2.Init.OwnAddress1 = 0;
  hi2c2.Init.AddressingMode = I2C_ADDRESSINGMODE_7BIT;
  hi2c2.Init.DualAddressMode = I2C_DUALADDRESS_DISABLE;
  hi2c2.Init.OwnAddress2 = 0;
  hi2c2.Init.OwnAddress2Masks = I2C_OA2_NOMASK;
  hi2c2.Init.GeneralCallMode = I2C_GENERALCALL_DISABLE;
  hi2c2.Init.NoStretchMode = I2C_NOSTRETCH_DISABLE;
  if (HAL_I2C_Init(&hi2c2) != HAL_OK)
  {
    Error_Handler();
  }
  /** Configure Analogue filter
  */
  if (HAL_I2CEx_ConfigAnalogFilter(&hi2c2, I2C_ANALOGFILTER_ENABLE) != HAL_OK)
  {
    Error_Handler();
  }
  /** Configure Digital filter
  */
  if (HAL_I2CEx_ConfigDigitalFilter(&hi2c2, 0) != HAL_OK)
  {
    Error_Handler();
  }

}

static void MX_TIM1_Init(void)
{

  TIM_ClockConfigTypeDef sClockSourceConfig = {0};
  TIM_MasterConfigTypeDef sMasterConfig = {0};
  TIM_OC_InitTypeDef sConfigOC = {0};
  TIM_BreakDeadTimeConfigTypeDef sBreakDeadTimeConfig = {0};

  htim1.Instance = TIM1;
  htim1.Init.Prescaler = 4320-1;
  htim1.Init.CounterMode = TIM_COUNTERMODE_UP;
  htim1.Init.Period = 1000-1;
  htim1.Init.ClockDivision = TIM_CLOCKDIVISION_DIV1;
  htim1.Init.RepetitionCounter = 0;
  htim1.Init.AutoReloadPreload = TIM_AUTORELOAD_PRELOAD_DISABLE;
  if (HAL_TIM_Base_Init(&htim1) != HAL_OK)
  {
    Error_Handler();
  }
  sClockSourceConfig.ClockSource = TIM_CLOCKSOURCE_INTERNAL;
  if (HAL_TIM_ConfigClockSource(&htim1, &sClockSourceConfig) != HAL_OK)
  {
    Error_Handler();
  }
  if (HAL_TIM_PWM_Init(&htim1) != HAL_OK)
  {
    Error_Handler();
  }
  sMasterConfig.MasterOutputTrigger = TIM_TRGO_RESET;
  sMasterConfig.MasterOutputTrigger2 = TIM_TRGO2_RESET;
  sMasterConfig.MasterSlaveMode = TIM_MASTERSLAVEMODE_DISABLE;
  if (HAL_TIMEx_MasterConfigSynchronization(&htim1, &sMasterConfig) != HAL_OK)
  {
    Error_Handler();
  }
  sConfigOC.OCMode = TIM_OCMODE_PWM1;
  sConfigOC.Pulse = 0;
  sConfigOC.OCPolarity = TIM_OCPOLARITY_HIGH;
  sConfigOC.OCNPolarity = TIM_OCNPOLARITY_HIGH;
  sConfigOC.OCFastMode = TIM_OCFAST_DISABLE;
  sConfigOC.OCIdleState = TIM_OCIDLESTATE_RESET;
  sConfigOC.OCNIdleState = TIM_OCNIDLESTATE_RESET;
  if (HAL_TIM_PWM_ConfigChannel(&htim1, &sConfigOC, TIM_CHANNEL_1) != HAL_OK)
  {
    Error_Handler();
  }
  if (HAL_TIM_PWM_ConfigChannel(&htim1, &sConfigOC, TIM_CHANNEL_2) != HAL_OK)
  {
    Error_Handler();
  }
  if (HAL_TIM_PWM_ConfigChannel(&htim1, &sConfigOC, TIM_CHANNEL_3) != HAL_OK)
  {
    Error_Handler();
  }
  if (HAL_TIM_PWM_ConfigChannel(&htim1, &sConfigOC, TIM_CHANNEL_4) != HAL_OK)
  {
    Error_Handler();
  }
  sBreakDeadTimeConfig.OffStateRunMode = TIM_OSSR_DISABLE;
  sBreakDeadTimeConfig.OffStateIDLEMode = TIM_OSSI_DISABLE;
  sBreakDeadTimeConfig.LockLevel = TIM_LOCKLEVEL_OFF;
  sBreakDeadTimeConfig.DeadTime = 0;
  sBreakDeadTimeConfig.BreakState = TIM_BREAK_DISABLE;
  sBreakDeadTimeConfig.BreakPolarity = TIM_BREAKPOLARITY_HIGH;
  sBreakDeadTimeConfig.BreakFilter = 0;
  sBreakDeadTimeConfig.Break2State = TIM_BREAK2_DISABLE;
  sBreakDeadTimeConfig.Break2Polarity = TIM_BREAK2POLARITY_HIGH;
  sBreakDeadTimeConfig.Break2Filter = 0;
  sBreakDeadTimeConfig.AutomaticOutput = TIM_AUTOMATICOUTPUT_DISABLE;
  if (HAL_TIMEx_ConfigBreakDeadTime(&htim1, &sBreakDeadTimeConfig) != HAL_OK)
  {
    Error_Handler();
  }
  HAL_TIM_MspPostInit(&htim1);

}

static void MX_TIM2_Init(void)
{

  TIM_Encoder_InitTypeDef sConfig = {0};
  TIM_MasterConfigTypeDef sMasterConfig = {0};

  htim2.Instance = TIM2;
  htim2.Init.Prescaler = 0;
  htim2.Init.CounterMode = TIM_COUNTERMODE_UP;
  htim2.Init.Period = 65535-1;
  htim2.Init.ClockDivision = TIM_CLOCKDIVISION_DIV1;
  htim2.Init.AutoReloadPreload = TIM_AUTORELOAD_PRELOAD_DISABLE;
  sConfig.EncoderMode = TIM_ENCODERMODE_TI12;
  sConfig.IC1Polarity = TIM_ICPOLARITY_RISING;
  sConfig.IC1Selection = TIM_ICSELECTION_DIRECTTI;
  sConfig.IC1Prescaler = TIM_ICPSC_DIV1;
  sConfig.IC1Filter = 0;
  sConfig.IC2Polarity = TIM_ICPOLARITY_RISING;
  sConfig.IC2Selection = TIM_ICSELECTION_DIRECTTI;
  sConfig.IC2Prescaler = TIM_ICPSC_DIV1;
  sConfig.IC2Filter = 0;
  if (HAL_TIM_Encoder_Init(&htim2, &sConfig) != HAL_OK)
  {
    Error_Handler();
  }
  sMasterConfig.MasterOutputTrigger = TIM_TRGO_RESET;
  sMasterConfig.MasterSlaveMode = TIM_MASTERSLAVEMODE_DISABLE;
  if (HAL_TIMEx_MasterConfigSynchronization(&htim2, &sMasterConfig) != HAL_OK)
  {
    Error_Handler();
  }

}

static void MX_TIM3_Init(void)
{

  TIM_ClockConfigTypeDef sClockSourceConfig = {0};
  TIM_MasterConfigTypeDef sMasterConfig = {0};
  TIM_OC_InitTypeDef sConfigOC = {0};

  htim3.Instance = TIM3;
  htim3.Init.Prescaler = 2160-1;
  htim3.Init.CounterMode = TIM_COUNTERMODE_UP;
  htim3.Init.Period = 1000-1;
  htim3.Init.ClockDivision = TIM_CLOCKDIVISION_DIV1;
  htim3.Init.AutoReloadPreload = TIM_AUTORELOAD_PRELOAD_DISABLE;
  if (HAL_TIM_Base_Init(&htim3) != HAL_OK)
  {
    Error_Handler();
  }
  sClockSourceConfig.ClockSource = TIM_CLOCKSOURCE_INTERNAL;
  if (HAL_TIM_ConfigClockSource(&htim3, &sClockSourceConfig) != HAL_OK)
  {
    Error_Handler();
  }
  if (HAL_TIM_PWM_Init(&htim3) != HAL_OK)
  {
    Error_Handler();
  }
  sMasterConfig.MasterOutputTrigger = TIM_TRGO_RESET;
  sMasterConfig.MasterSlaveMode = TIM_MASTERSLAVEMODE_DISABLE;
  if (HAL_TIMEx_MasterConfigSynchronization(&htim3, &sMasterConfig) != HAL_OK)
  {
    Error_Handler();
  }
  sConfigOC.OCMode = TIM_OCMODE_PWM1;
  sConfigOC.Pulse = 0;
  sConfigOC.OCPolarity = TIM_OCPOLARITY_HIGH;
  sConfigOC.OCFastMode = TIM_OCFAST_DISABLE;
  if (HAL_TIM_PWM_ConfigChannel(&htim3, &sConfigOC, TIM_CHANNEL_1) != HAL_OK)
  {
    Error_Handler();
  }
  if (HAL_TIM_PWM_ConfigChannel(&htim3, &sConfigOC, TIM_CHANNEL_2) != HAL_OK)
  {
    Error_Handler();
  }
  if (HAL_TIM_PWM_ConfigChannel(&htim3, &sConfigOC, TIM_CHANNEL_3) != HAL_OK)
  {
    Error_Handler();
  }
  if (HAL_TIM_PWM_ConfigChannel(&htim3, &sConfigOC, TIM_CHANNEL_4) != HAL_OK)
  {
    Error_Handler();
  }
  HAL_TIM_MspPostInit(&htim3);

}

static void MX_TIM4_Init(void)
{

  TIM_ClockConfigTypeDef sClockSourceConfig = {0};
  TIM_MasterConfigTypeDef sMasterConfig = {0};
  TIM_OC_InitTypeDef sConfigOC = {0};

  htim4.Instance = TIM4;
  htim4.Init.Prescaler = 108-1;
  htim4.Init.CounterMode = TIM_COUNTERMODE_UP;
  htim4.Init.Period = 1000-1;
  htim4.Init.ClockDivision = TIM_CLOCKDIVISION_DIV1;
  htim4.Init.AutoReloadPreload = TIM_AUTORELOAD_PRELOAD_DISABLE;
  if (HAL_TIM_Base_Init(&htim4) != HAL_OK)
  {
    Error_Handler();
  }
  sClockSourceConfig.ClockSource = TIM_CLOCKSOURCE_INTERNAL;
  if (HAL_TIM_ConfigClockSource(&htim4, &sClockSourceConfig) != HAL_OK)
  {
    Error_Handler();
  }
  if (HAL_TIM_PWM_Init(&htim4) != HAL_OK)
  {
    Error_Handler();
  }
  sMasterConfig.MasterOutputTrigger = TIM_TRGO_RESET;
  sMasterConfig.MasterSlaveMode = TIM_MASTERSLAVEMODE_DISABLE;
  if (HAL_TIMEx_MasterConfigSynchronization(&htim4, &sMasterConfig) != HAL_OK)
  {
    Error_Handler();
  }
  sConfigOC.OCMode = TIM_OCMODE_PWM1;
  sConfigOC.Pulse = 0;
  sConfigOC.OCPolarity = TIM_OCPOLARITY_HIGH;
  sConfigOC.OCFastMode = TIM_OCFAST_DISABLE;
  if (HAL_TIM_PWM_ConfigChannel(&htim4, &sConfigOC, TIM_CHANNEL_1) != HAL_OK)
  {
    Error_Handler();
  }
  if (HAL_TIM_PWM_ConfigChannel(&htim4, &sConfigOC, TIM_CHANNEL_2) != HAL_OK)
  {
    Error_Handler();
  }
  if (HAL_TIM_PWM_ConfigChannel(&htim4, &sConfigOC, TIM_CHANNEL_3) != HAL_OK)
  {
    Error_Handler();
  }
  if (HAL_TIM_PWM_ConfigChannel(&htim4, &sConfigOC, TIM_CHANNEL_4) != HAL_OK)
  {
    Error_Handler();
  }
  HAL_TIM_MspPostInit(&htim4);

}

static void MX_TIM5_Init(void)
{

  TIM_ClockConfigTypeDef sClockSourceConfig = {0};
  TIM_MasterConfigTypeDef sMasterConfig = {0};
  TIM_OC_InitTypeDef sConfigOC = {0};

  htim5.Instance = TIM5;
  htim5.Init.Prescaler = 108-1;
  htim5.Init.CounterMode = TIM_COUNTERMODE_UP;
  htim5.Init.Period = 1000-1;
  htim5.Init.ClockDivision = TIM_CLOCKDIVISION_DIV1;
  htim5.Init.AutoReloadPreload = TIM_AUTORELOAD_PRELOAD_DISABLE;
  if (HAL_TIM_Base_Init(&htim5) != HAL_OK)
  {
    Error_Handler();
  }
  sClockSourceConfig.ClockSource = TIM_CLOCKSOURCE_INTERNAL;
  if (HAL_TIM_ConfigClockSource(&htim5, &sClockSourceConfig) != HAL_OK)
  {
    Error_Handler();
  }
  if (HAL_TIM_PWM_Init(&htim5) != HAL_OK)
  {
    Error_Handler();
  }
  sMasterConfig.MasterOutputTrigger = TIM_TRGO_RESET;
  sMasterConfig.MasterSlaveMode = TIM_MASTERSLAVEMODE_DISABLE;
  if (HAL_TIMEx_MasterConfigSynchronization(&htim5, &sMasterConfig) != HAL_OK)
  {
    Error_Handler();
  }
  sConfigOC.OCMode = TIM_OCMODE_PWM1;
  sConfigOC.Pulse = 0;
  sConfigOC.OCPolarity = TIM_OCPOLARITY_HIGH;
  sConfigOC.OCFastMode = TIM_OCFAST_DISABLE;
  if (HAL_TIM_PWM_ConfigChannel(&htim5, &sConfigOC, TIM_CHANNEL_1) != HAL_OK)
  {
    Error_Handler();
  }
  if (HAL_TIM_PWM_ConfigChannel(&htim5, &sConfigOC, TIM_CHANNEL_2) != HAL_OK)
  {
    Error_Handler();
  }
  if (HAL_TIM_PWM_ConfigChannel(&htim5, &sConfigOC, TIM_CHANNEL_3) != HAL_OK)
  {
    Error_Handler();
  }
  if (HAL_TIM_PWM_ConfigChannel(&htim5, &sConfigOC, TIM_CHANNEL_4) != HAL_OK)
  {
    Error_Handler();
  }
  HAL_TIM_MspPostInit(&htim5);

}

static void MX_TIM6_Init(void)
{

  TIM_MasterConfigTypeDef sMasterConfig = {0};

  htim6.Instance = TIM6;
  htim6.Init.Prescaler = 10800-1;
  htim6.Init.CounterMode = TIM_COUNTERMODE_UP;
  htim6.Init.Period = 50000-1;
  htim6.Init.AutoReloadPreload = TIM_AUTORELOAD_PRELOAD_DISABLE;
  if (HAL_TIM_Base_Init(&htim6) != HAL_OK)
  {
    Error_Handler();
  }
  sMasterConfig.MasterOutputTrigger = TIM_TRGO_RESET;
  sMasterConfig.MasterSlaveMode = TIM_MASTERSLAVEMODE_DISABLE;
  if (HAL_TIMEx_MasterConfigSynchronization(&htim6, &sMasterConfig) != HAL_OK)
  {
    Error_Handler();
  }

}

static void MX_TIM8_Init(void)
{

  TIM_Encoder_InitTypeDef sConfig = {0};
  TIM_MasterConfigTypeDef sMasterConfig = {0};

  htim8.Instance = TIM8;
  htim8.Init.Prescaler = 0;
  htim8.Init.CounterMode = TIM_COUNTERMODE_UP;
  htim8.Init.Period = 65535-1;
  htim8.Init.ClockDivision = TIM_CLOCKDIVISION_DIV1;
  htim8.Init.RepetitionCounter = 0;
  htim8.Init.AutoReloadPreload = TIM_AUTORELOAD_PRELOAD_DISABLE;
  sConfig.EncoderMode = TIM_ENCODERMODE_TI12;
  sConfig.IC1Polarity = TIM_ICPOLARITY_RISING;
  sConfig.IC1Selection = TIM_ICSELECTION_DIRECTTI;
  sConfig.IC1Prescaler = TIM_ICPSC_DIV1;
  sConfig.IC1Filter = 0;
  sConfig.IC2Polarity = TIM_ICPOLARITY_RISING;
  sConfig.IC2Selection = TIM_ICSELECTION_DIRECTTI;
  sConfig.IC2Prescaler = TIM_ICPSC_DIV1;
  sConfig.IC2Filter = 0;
  if (HAL_TIM_Encoder_Init(&htim8, &sConfig) != HAL_OK)
  {
    Error_Handler();
  }
  sMasterConfig.MasterOutputTrigger = TIM_TRGO_RESET;
  sMasterConfig.MasterOutputTrigger2 = TIM_TRGO2_RESET;
  sMasterConfig.MasterSlaveMode = TIM_MASTERSLAVEMODE_DISABLE;
  if (HAL_TIMEx_MasterConfigSynchronization(&htim8, &sMasterConfig) != HAL_OK)
  {
    Error_Handler();
  }

}

static void MX_TIM9_Init(void)
{

  TIM_ClockConfigTypeDef sClockSourceConfig = {0};
  TIM_OC_InitTypeDef sConfigOC = {0};

  htim9.Instance = TIM9;
  htim9.Init.Prescaler = 108-1;
  htim9.Init.CounterMode = TIM_COUNTERMODE_UP;
  htim9.Init.Period = 1000-1;
  htim9.Init.ClockDivision = TIM_CLOCKDIVISION_DIV1;
  htim9.Init.AutoReloadPreload = TIM_AUTORELOAD_PRELOAD_DISABLE;
  if (HAL_TIM_Base_Init(&htim9) != HAL_OK)
  {
    Error_Handler();
  }
  sClockSourceConfig.ClockSource = TIM_CLOCKSOURCE_INTERNAL;
  if (HAL_TIM_ConfigClockSource(&htim9, &sClockSourceConfig) != HAL_OK)
  {
    Error_Handler();
  }
  if (HAL_TIM_PWM_Init(&htim9) != HAL_OK)
  {
    Error_Handler();
  }
  sConfigOC.OCMode = TIM_OCMODE_PWM1;
  sConfigOC.Pulse = 0;
  sConfigOC.OCPolarity = TIM_OCPOLARITY_HIGH;
  sConfigOC.OCFastMode = TIM_OCFAST_DISABLE;
  if (HAL_TIM_PWM_ConfigChannel(&htim9, &sConfigOC, TIM_CHANNEL_1) != HAL_OK)
  {
    Error_Handler();
  }
  if (HAL_TIM_PWM_ConfigChannel(&htim9, &sConfigOC, TIM_CHANNEL_2) != HAL_OK)
  {
    Error_Handler();
  }
  HAL_TIM_MspPostInit(&htim9);

}

static void MX_TIM12_Init(void)
{

  TIM_ClockConfigTypeDef sClockSourceConfig = {0};

  htim12.Instance = TIM12;
  htim12.Init.Prescaler = 108-1;
  htim12.Init.CounterMode = TIM_COUNTERMODE_UP;
  htim12.Init.Period = 1000-1;
  htim12.Init.ClockDivision = TIM_CLOCKDIVISION_DIV1;
  htim12.Init.AutoReloadPreload = TIM_AUTORELOAD_PRELOAD_DISABLE;
  if (HAL_TIM_Base_Init(&htim12) != HAL_OK)
  {
    Error_Handler();
  }
  sClockSourceConfig.ClockSource = TIM_CLOCKSOURCE_INTERNAL;
  if (HAL_TIM_ConfigClockSource(&htim12, &sClockSourceConfig) != HAL_OK)
  {
    Error_Handler();
  }

}

static void MX_USART1_UART_Init(void)
{

  huart1.Instance = USART1;
  huart1.Init.BaudRate = 115200;
  huart1.Init.WordLength = UART_WORDLENGTH_8B;
  huart1.Init.StopBits = UART_STOPBITS_1;
  huart1.Init.Parity = UART_PARITY_NONE;
  huart1.Init.Mode = UART_MODE_TX_RX;
  huart1.Init.HwFlowCtl = UART_HWCONTROL_NONE;
  huart1.Init.OverSampling = UART_OVERSAMPLING_16;
  huart1.Init.OneBitSampling = UART_ONE_BIT_SAMPLE_DISABLE;
  huart1.AdvancedInit.AdvFeatureInit = UART_ADVFEATURE_NO_INIT;
  if (HAL_UART_Init(&huart1) != HAL_OK)
  {
    Error_Handler();
  }

}

static void MX_USART2_UART_Init(void)
{

  huart2.Instance = USART2;
  huart2.Init.BaudRate = 9600;
  huart2.Init.WordLength = UART_WORDLENGTH_8B;
  huart2.Init.StopBits = UART_STOPBITS_1;
  huart2.Init.Parity = UART_PARITY_NONE;
  huart2.Init.Mode = UART_MODE_TX_RX;
  huart2.Init.HwFlowCtl = UART_HWCONTROL_NONE;
  huart2.Init.OverSampling = UART_OVERSAMPLING_16;
  huart2.Init.OneBitSampling = UART_ONE_BIT_SAMPLE_DISABLE;
  huart2.AdvancedInit.AdvFeatureInit = UART_ADVFEATURE_RXINVERT_INIT;
  huart2.AdvancedInit.RxPinLevelInvert = UART_ADVFEATURE_RXINV_ENABLE;
  if (HAL_UART_Init(&huart2) != HAL_OK)
  {
    Error_Handler();
  }

}

static void MX_DMA_Init(void)
{

  /* DMA controller clock enable */
  __HAL_RCC_DMA1_CLK_ENABLE();

  /* DMA interrupt init */
  /* DMA1_Stream5_IRQn interrupt configuration */
  HAL_NVIC_SetPriority(DMA1_Stream5_IRQn, 0, 0);
  HAL_NVIC_EnableIRQ(DMA1_Stream5_IRQn);

}

static void MX_GPIO_Init(void)
{
  GPIO_InitTypeDef GPIO_InitStruct = {0};

  /* GPIO Ports Clock Enable */
  __HAL_RCC_GPIOE_CLK_ENABLE();
  __HAL_RCC_GPIOF_CLK_ENABLE();
  __HAL_RCC_GPIOA_CLK_ENABLE();
  __HAL_RCC_GPIOC_CLK_ENABLE();
  __HAL_RCC_GPIOB_CLK_ENABLE();
  __HAL_RCC_GPIOG_CLK_ENABLE();
  __HAL_RCC_GPIOD_CLK_ENABLE();

  /*Configure GPIO pin Output Level */
  HAL_GPIO_WritePin(GPIOF, GPIO_PIN_12|GPIO_PIN_13, GPIO_PIN_RESET);

  /*Configure GPIO pin : PC5 */
  GPIO_InitStruct.Pin = GPIO_PIN_5;
  GPIO_InitStruct.Mode = GPIO_MODE_IT_RISING_FALLING;
  GPIO_InitStruct.Pull = GPIO_NOPULL;
  HAL_GPIO_Init(GPIOC, &GPIO_InitStruct);

  /*Configure GPIO pin : PB2 */
  GPIO_InitStruct.Pin = GPIO_PIN_2;
  GPIO_InitStruct.Mode = GPIO_MODE_IT_RISING_FALLING;
  GPIO_InitStruct.Pull = GPIO_NOPULL;
  HAL_GPIO_Init(GPIOB, &GPIO_InitStruct);

  /*Configure GPIO pins : PF12 PF13 */
  GPIO_InitStruct.Pin = GPIO_PIN_12|GPIO_PIN_13;
  GPIO_InitStruct.Mode = GPIO_MODE_OUTPUT_PP;
  GPIO_InitStruct.Pull = GPIO_NOPULL;
  GPIO_InitStruct.Speed = GPIO_SPEED_FREQ_LOW;
  HAL_GPIO_Init(GPIOF, &GPIO_InitStruct);

  /*Configure GPIO pin : PF15 */
  GPIO_InitStruct.Pin = GPIO_PIN_15;
  GPIO_InitStruct.Mode = GPIO_MODE_IT_RISING_FALLING;
  GPIO_InitStruct.Pull = GPIO_NOPULL;
  HAL_GPIO_Init(GPIOF, &GPIO_InitStruct);

  /*Configure GPIO pins : PG0 PG1 PG3 PG6
                           PG7 PG8 */
  GPIO_InitStruct.Pin = GPIO_PIN_0|GPIO_PIN_1|GPIO_PIN_3|GPIO_PIN_6
                          |GPIO_PIN_7|GPIO_PIN_8;
  GPIO_InitStruct.Mode = GPIO_MODE_IT_RISING_FALLING;
  GPIO_InitStruct.Pull = GPIO_NOPULL;
  HAL_GPIO_Init(GPIOG, &GPIO_InitStruct);

  /*Configure GPIO pin : PD10 */
  GPIO_InitStruct.Pin = GPIO_PIN_10;
  GPIO_InitStruct.Mode = GPIO_MODE_IT_RISING_FALLING;
  GPIO_InitStruct.Pull = GPIO_NOPULL;
  HAL_GPIO_Init(GPIOD, &GPIO_InitStruct);

  /* EXTI interrupt init*/
  HAL_NVIC_SetPriority(EXTI0_IRQn, 0, 0);
  HAL_NVIC_EnableIRQ(EXTI0_IRQn);

  HAL_NVIC_SetPriority(EXTI1_IRQn, 0, 0);
  HAL_NVIC_EnableIRQ(EXTI1_IRQn);

  HAL_NVIC_SetPriority(EXTI2_IRQn, 0, 0);
  HAL_NVIC_EnableIRQ(EXTI2_IRQn);

  HAL_NVIC_SetPriority(EXTI3_IRQn, 0, 0);
  HAL_NVIC_EnableIRQ(EXTI3_IRQn);

  HAL_NVIC_SetPriority(EXTI9_5_IRQn, 0, 0);
  HAL_NVIC_EnableIRQ(EXTI9_5_IRQn);

  HAL_NVIC_SetPriority(EXTI15_10_IRQn, 0, 0);
  HAL_NVIC_EnableIRQ(EXTI15_10_IRQn);

}

void Error_Handler(void)
{
}

/************************ (C) COPYRIGHT STMicroelectronics *****END OF FILE****/
